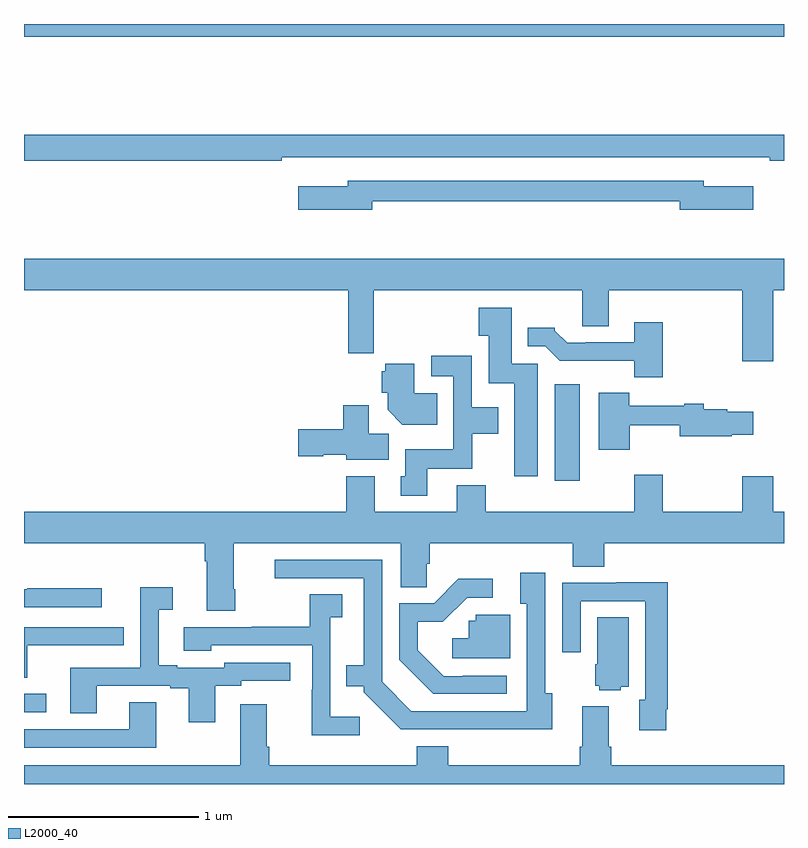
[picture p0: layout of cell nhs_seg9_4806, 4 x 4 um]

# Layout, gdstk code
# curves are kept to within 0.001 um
import gdstk
lib = gdstk.Library(unit=1e-6, precision=1e-09)
def R(c, l, rs):  # rectangles x0, y0, x1, y1
    for r in rs: c.add(gdstk.rectangle(r[:2], r[2:], *l))
def P(c, l, *ps):  # polygons
    for p in ps: c.add(gdstk.Polygon(p, *l))
L2000_40 = (2000, 40)

nhs_seg9_4806 = lib.new_cell('nhs_seg9_4806')
R(nhs_seg9_4806, L2000_40, [(389,1180.878,389.116,1180.974), (391.793,1182.096,391.924,1182.604), (389,1184.432,393,1184.5)])
P(nhs_seg9_4806, L2000_40, [(390.356,1183.799),(390.608,1183.799),(390.608,1183.8),(392.674,1183.8),(392.674,1183.799),(392.926,1183.799),(392.926,1183.78),(393,1183.78),(393,1183.916),(389,1183.916),(389,1183.78),(390.356,1183.78)],
  [(390.832,1183.566),(392.45,1183.566),(392.45,1183.523),(392.839,1183.523),(392.839,1183.645),(392.578,1183.645),(392.578,1183.674),(390.704,1183.674),(390.704,1183.645),(390.444,1183.645),(390.444,1183.523),(390.832,1183.523)],
  [(392.944,1183.1),(393,1183.1),(393,1183.264),(389,1183.264),(389,1183.1),(390.706,1183.1),(390.706,1182.768),(390.842,1182.768),(390.842,1183.1),(391.937,1183.1),(391.937,1182.91),(392.077,1182.91),(392.077,1183.1),(392.78,1183.1),(392.78,1182.726),(392.944,1182.726)],
  [(391.705,1182.711),(391.567,1182.711),(391.567,1183.006),(391.394,1183.006),(391.394,1182.859),(391.445,1182.859),(391.445,1182.608),(391.58,1182.608),(391.58,1182.12),(391.705,1182.12)],
  [(392.361,1182.931),(392.213,1182.931),(392.213,1182.825),(391.957,1182.825),(391.957,1182.822),(391.858,1182.822),(391.794,1182.886),(391.794,1182.901),(391.652,1182.901),(391.652,1182.804),(391.743,1182.804),(391.819,1182.728),(392.211,1182.728),(392.211,1182.641),(392.361,1182.641)],
  [(391.123,1182.158),(391.359,1182.158),(391.359,1182.344),(391.495,1182.344),(391.495,1182.484),(391.356,1182.484),(391.356,1182.754),(391.143,1182.754),(391.143,1182.645),(391.26,1182.645),(391.26,1182.262),(391.007,1182.262),(391.007,1182.12),(390.983,1182.12),(390.983,1182.018),(391.123,1182.018)],
  [(391.175,1182.556),(391.054,1182.556),(391.054,1182.713),(390.902,1182.713),(390.902,1182.672),(390.884,1182.672),(390.884,1182.558),(390.914,1182.558),(390.914,1182.47),(390.992,1182.392),(391.175,1182.392)],
  [(392.188,1182.388),(392.45,1182.388),(392.45,1182.331),(392.726,1182.331),(392.726,1182.338),(392.839,1182.338),(392.839,1182.46),(392.7,1182.46),(392.7,1182.473),(392.578,1182.473),(392.578,1182.502),(392.474,1182.502),(392.474,1182.49),(392.186,1182.49),(392.186,1182.559),(392.024,1182.559),(392.024,1182.258),(392.188,1182.258)],
  [(390.919,1182.344),(390.814,1182.344),(390.814,1182.493),(390.68,1182.493),(390.68,1182.368),(390.444,1182.368),(390.444,1182.226),(390.576,1182.226),(390.576,1182.233),(390.696,1182.233),(390.696,1182.206),(390.919,1182.206)],
  [(390.111,1181.524),(390.103,1181.524),(390.103,1181.768),(390.983,1181.768),(390.983,1181.536),(391.121,1181.536),(391.121,1181.658),(391.136,1181.658),(391.136,1181.768),(391.889,1181.768),(391.889,1181.644),(392.054,1181.644),(392.054,1181.768),(393,1181.768),(393,1181.932),(392.944,1181.932),(392.944,1182.121),(392.78,1182.121),(392.78,1181.932),(392.361,1181.932),(392.361,1182.127),(392.213,1182.127),(392.213,1181.932),(391.43,1181.932),(391.43,1182.073),(391.277,1182.073),(391.277,1181.932),(390.847,1181.932),(390.847,1182.121),(390.695,1182.121),(390.695,1181.932),(389,1181.932),(389,1181.768),(389.951,1181.768),(389.951,1181.672),(389.963,1181.672),(389.963,1181.412),(390.111,1181.412)],
  [(391.78,1180.978),(391.743,1180.978),(391.743,1181.611),(391.613,1181.611),(391.613,1181.45),(391.647,1181.45),(391.647,1180.884),(391.038,1180.884),(390.885,1181.037),(390.885,1181.679),(390.321,1181.679),(390.321,1181.583),(390.788,1181.583),(390.788,1181.125),(390.697,1181.125),(390.697,1181.015),(390.789,1181.015),(390.789,1180.983),(390.984,1180.788),(391.78,1180.787)],
  [(391.54,1181.07),(391.309,1181.07),(391.309,1181.067),(391.209,1181.067),(391.072,1181.204),(391.072,1181.354),(391.205,1181.354),(391.332,1181.481),(391.468,1181.481),(391.468,1181.579),(391.286,1181.579),(391.158,1181.451),(390.975,1181.451),(390.975,1181.153),(391.154,1180.974),(391.54,1180.974)],
  [(392.38,1180.894),(392.387,1180.894),(392.387,1181.563),(392.117,1181.563),(392.117,1181.559),(391.833,1181.559),(391.833,1181.193),(391.929,1181.193),(391.929,1181.463),(392.271,1181.463),(392.271,1180.943),(392.237,1180.943),(392.237,1180.782),(392.38,1180.782)],
  [(390.007,1181.016),(390.144,1181.016),(390.144,1181.043),(390.4,1181.043),(390.4,1181.139),(390.054,1181.139),(390.054,1181.112),(389.806,1181.112),(389.806,1181.125),(389.71,1181.125),(389.71,1181.416),(389.782,1181.416),(389.782,1181.536),(389.613,1181.536),(389.613,1181.112),(389.243,1181.112),(389.243,1180.873),(389.383,1180.873),(389.383,1181.016),(389.771,1181.016),(389.771,1181.004),(389.867,1181.004),(389.867,1180.824),(390.007,1180.824)],
  [(389.41,1181.529),(389.017,1181.529),(389.017,1181.526),(389,1181.526),(389,1181.43),(389.41,1181.43)],
  [(390.766,1180.855),(390.612,1180.855),(390.612,1181.377),(390.676,1181.377),(390.676,1181.498),(390.504,1181.498),(390.504,1181.328),(390.199,1181.328),(390.199,1181.325),(389.841,1181.325),(389.841,1181.201),(389.985,1181.201),(389.985,1181.229),(390.516,1181.229),(390.516,1180.997),(390.514,1180.997),(390.514,1180.757),(390.766,1180.757)],
  [(391.558,1181.391),(391.377,1181.391),(391.377,1181.358),(391.341,1181.358),(391.341,1181.266),(391.254,1181.266),(391.254,1181.163),(391.558,1181.163)],
  [(392.142,1181.012),(392.182,1181.012),(392.182,1181.378),(392.018,1181.378),(392.018,1181.13),(392.006,1181.13),(392.006,1181.016),(392.028,1181.016),(392.028,1180.994),(392.142,1180.994)],
  [(389.016,1181.229),(389.411,1181.229),(389.411,1181.23),(389.524,1181.23),(389.524,1181.325),(389,1181.325),(389,1181.059),(389.016,1181.059)],
  [(389.695,1180.931),(389.555,1180.931),(389.555,1180.788),(389,1180.788),(389,1180.692),(389.695,1180.692)],
  [(393,1180.6),(392.09,1180.6),(392.09,1180.696),(392.077,1180.696),(392.077,1180.909),(391.937,1180.909),(391.937,1180.696),(391.925,1180.696),(391.925,1180.6),(391.232,1180.6),(391.232,1180.699),(391.067,1180.699),(391.067,1180.6),(390.29,1180.6),(390.29,1180.696),(390.277,1180.696),(390.277,1180.921),(390.137,1180.921),(390.137,1180.6),(389,1180.6),(389,1180.5),(393,1180.5)])

lib.write_gds('nhs_seg9_4806.gds')
